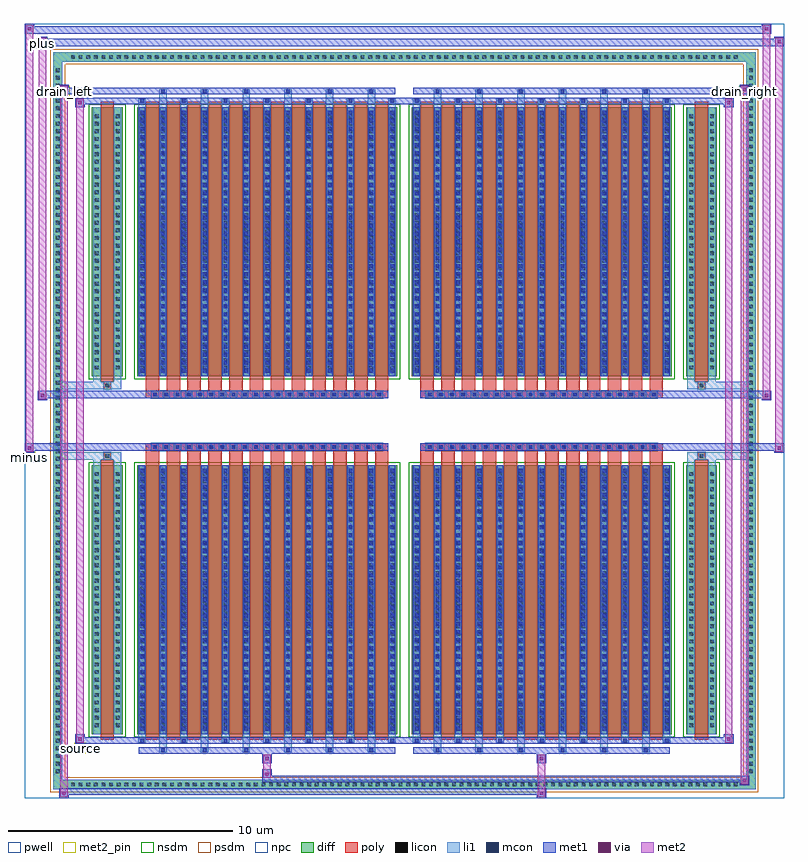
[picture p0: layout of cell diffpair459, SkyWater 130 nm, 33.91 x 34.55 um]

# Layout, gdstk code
import gdstk
lib = gdstk.Library(unit=1e-6, precision=5e-09)
def R(c, l, rs):  # rectangles x0, y0, x1, y1
    for r in rs: c.add(gdstk.rectangle(r[:2], r[2:], *l))
def A(c, l, x, y, w, h, nx, ny, dx, dy):  # array of equal rectangles
    R(c, l, [(x+i*dx, y+j*dy, x+i*dx+w, y+j*dy+h) for i in range(nx) for j in range(ny)])
def P(c, l, *ps):  # polygons
    for p in ps: c.add(gdstk.Polygon(p, *l))
pwell = (64, 44)
diff = (65, 20)
poly = (66, 20)
licon = (66, 44)
li1 = (67, 20)
mcon = (67, 44)
met1 = (68, 20)
via = (68, 44)
met2_pin = (69, 16)
met2 = (69, 20)
nsdm = (93, 44)
psdm = (94, 20)
npc = (95, 20)

diffpair459 = lib.new_cell('diffpair459')
R(diffpair459, pwell, [(-16.94,-16.84,16.94,17.71), (-14.26,-15.03,-0.01,-0.805), (0.01,-15.03,14.26,-0.805), (-14.26,0.805,-0.01,15.03), (0.01,0.805,14.26,15.03)])
A(diffpair459, diff, -14.995, -16.44, 0.41, 0.41, 88, 2, 0.34, 32.47)
A(diffpair459, diff, -15.67, -15.845, 0.41, 0.41, 1, 93, 0, 0.34)
A(diffpair459, diff, 15.26, -15.845, 0.41, 0.41, 1, 93, 0, 0.34)
R(diffpair459, diff, [(-14.995,-16.44,14.995,-16.03), (-15.67,-15.845,-15.26,15.845), (15.26,-15.845,15.67,15.845), (-13.95,-13.985,-12.57,-1.985), (-11.93,-13.985,-0.32,-1.985), (0.32,-13.985,11.93,-1.985), (12.57,-13.985,13.95,-1.985), (-13.95,1.985,-12.57,13.985), (-11.93,1.985,-0.32,13.985), (0.32,1.985,11.93,13.985), (12.57,1.985,13.95,13.985), (-14.995,16.03,14.995,16.44)])
P(diffpair459, diff, [(15.67,16.44),(-15.67,16.44),(-15.67,-16.03),(-15.26,-16.03),(-15.26,16.03),(15.26,16.03),(15.26,-16.03),(-15.26,-16.03),(-15.67,-16.03),(-15.67,-16.44),(15.67,-16.44)])
A(diffpair459, poly, -11.54, -14.235, 0.6, 12.5, 12, 2, 0.93, 15.97)
A(diffpair459, poly, 0.71, -14.235, 0.6, 12.5, 12, 2, 0.93, 15.97)
A(diffpair459, poly, -11.54, -1.735, 0.6, 0.4, 12, 2, 0.93, 3.07)
A(diffpair459, poly, 0.71, -1.735, 0.6, 0.4, 12, 2, 0.93, 3.07)
A(diffpair459, poly, -11.29, -1.335, 0.33, 0.33, 21, 2, 0.5, 2.34)
A(diffpair459, poly, 0.96, -1.335, 0.33, 0.33, 21, 2, 0.5, 2.34)
R(diffpair459, poly, [(-13.56,-14.235,-12.96,-1.735), (12.96,-14.235,13.56,-1.735), (-13.425,-1.735,-13.095,-1.405), (-13.425,-1.735,-13.095,-1.405), (13.095,-1.735,13.425,-1.405), (13.095,-1.735,13.425,-1.405), (-11.54,-1.335,-0.71,-1.005), (0.71,-1.335,11.54,-1.005), (-11.54,1.005,-0.71,1.335), (0.71,1.005,11.54,1.335), (-13.425,1.405,-13.095,1.735), (-13.425,1.405,-13.095,1.735), (13.095,1.405,13.425,1.735), (13.095,1.405,13.425,1.735), (-13.56,1.735,-12.96,14.235), (12.96,1.735,13.56,14.235)])
A(diffpair459, licon, -14.875, -16.32, 0.17, 0.17, 88, 2, 0.34, 32.47)
A(diffpair459, licon, -15.55, -15.725, 0.17, 0.17, 1, 93, 0, 0.34)
A(diffpair459, licon, 15.38, -15.725, 0.17, 0.17, 1, 93, 0, 0.34)
A(diffpair459, licon, -13.81, -13.68, 0.17, 0.17, 1, 34, 0, 0.34)
A(diffpair459, licon, -12.88, -13.68, 0.17, 0.17, 1, 34, 0, 0.34)
A(diffpair459, licon, -11.79, -13.68, 0.17, 0.17, 13, 34, 0.93, 0.34)
A(diffpair459, licon, 0.46, -13.68, 0.17, 0.17, 13, 34, 0.93, 0.34)
A(diffpair459, licon, 12.71, -13.68, 0.17, 0.17, 1, 34, 0, 0.34)
A(diffpair459, licon, 13.64, -13.68, 0.17, 0.17, 1, 34, 0, 0.34)
A(diffpair459, licon, -11.21, -1.255, 0.17, 0.17, 21, 2, 0.5, 2.34)
A(diffpair459, licon, 1.04, -1.255, 0.17, 0.17, 21, 2, 0.5, 2.34)
A(diffpair459, licon, -13.81, 2.29, 0.17, 0.17, 1, 34, 0, 0.34)
A(diffpair459, licon, -12.88, 2.29, 0.17, 0.17, 1, 34, 0, 0.34)
A(diffpair459, licon, -11.79, 2.29, 0.17, 0.17, 13, 34, 0.93, 0.34)
A(diffpair459, licon, 0.46, 2.29, 0.17, 0.17, 13, 34, 0.93, 0.34)
A(diffpair459, licon, 12.71, 2.29, 0.17, 0.17, 1, 34, 0, 0.34)
A(diffpair459, licon, 13.64, 2.29, 0.17, 0.17, 1, 34, 0, 0.34)
R(diffpair459, licon, [(-13.345,-1.655,-13.175,-1.485), (13.175,-1.655,13.345,-1.485), (-13.345,1.485,-13.175,1.655), (13.175,1.485,13.345,1.655)])
A(diffpair459, li1, -14.955, -16.4, 0.33, 0.33, 88, 2, 0.34, 32.47)
A(diffpair459, li1, -15.63, -15.805, 0.33, 0.33, 1, 93, 0, 0.34)
A(diffpair459, li1, 15.3, -15.805, 0.33, 0.33, 1, 93, 0, 0.34)
A(diffpair459, li1, -10.94, -14.79, 0.33, 0.805, 6, 2, 1.86, 28.775)
A(diffpair459, li1, -10.86, -14.79, 0.17, 0.17, 6, 2, 1.86, 29.41)
A(diffpair459, li1, 1.31, -14.79, 0.33, 0.805, 6, 2, 1.86, 28.775)
A(diffpair459, li1, 1.39, -14.79, 0.17, 0.17, 6, 2, 1.86, 29.41)
A(diffpair459, li1, -11.87, -14.36, 0.33, 0.375, 7, 2, 1.86, 28.345)
A(diffpair459, li1, -11.79, -14.36, 0.17, 0.17, 7, 2, 1.86, 28.55)
A(diffpair459, li1, 0.38, -14.36, 0.33, 0.375, 7, 2, 1.86, 28.345)
A(diffpair459, li1, 0.46, -14.36, 0.17, 0.17, 7, 2, 1.86, 28.55)
A(diffpair459, li1, -11.87, -13.985, 0.33, 12, 13, 2, 0.93, 15.97)
A(diffpair459, li1, 0.38, -13.985, 0.33, 12, 13, 2, 0.93, 15.97)
A(diffpair459, li1, -11.79, -13.83, 0.17, 0.17, 13, 33, 0.93, 0.36)
A(diffpair459, li1, -11.79, -13.83, 0.17, 11.69, 13, 2, 0.93, 15.97)
A(diffpair459, li1, 0.46, -13.83, 0.17, 0.17, 13, 33, 0.93, 0.36)
A(diffpair459, li1, 0.46, -13.83, 0.17, 11.69, 13, 2, 0.93, 15.97)
A(diffpair459, li1, -13.89, -13.76, 0.33, 0.33, 1, 34, 0, 0.34)
A(diffpair459, li1, -12.96, -13.76, 0.33, 0.33, 1, 34, 0, 0.34)
A(diffpair459, li1, -11.87, -13.76, 0.33, 0.33, 13, 34, 0.93, 0.34)
A(diffpair459, li1, 0.38, -13.76, 0.33, 0.33, 13, 34, 0.93, 0.34)
A(diffpair459, li1, 12.63, -13.76, 0.33, 0.33, 1, 34, 0, 0.34)
A(diffpair459, li1, 13.56, -13.76, 0.33, 0.33, 1, 34, 0, 0.34)
A(diffpair459, li1, -11.29, -1.335, 0.33, 0.33, 21, 2, 0.5, 2.34)
A(diffpair459, li1, 0.96, -1.335, 0.33, 0.33, 21, 2, 0.5, 2.34)
A(diffpair459, li1, -11.79, 2.14, 0.17, 0.17, 13, 33, 0.93, 0.36)
A(diffpair459, li1, 0.46, 2.14, 0.17, 0.17, 13, 33, 0.93, 0.36)
A(diffpair459, li1, -13.89, 2.21, 0.33, 0.33, 1, 34, 0, 0.34)
A(diffpair459, li1, -12.96, 2.21, 0.33, 0.33, 1, 34, 0, 0.34)
A(diffpair459, li1, -11.87, 2.21, 0.33, 0.33, 13, 34, 0.93, 0.34)
A(diffpair459, li1, 0.38, 2.21, 0.33, 0.33, 13, 34, 0.93, 0.34)
A(diffpair459, li1, 12.63, 2.21, 0.33, 0.33, 1, 34, 0, 0.34)
A(diffpair459, li1, 13.56, 2.21, 0.33, 0.33, 1, 34, 0, 0.34)
R(diffpair459, li1, [(-15.67,-16.44,-15.26,-16.03), (-15.67,-16.44,-15.26,-16.03), (-15.26,-16.44,15.26,-16.03), (15.26,-16.44,15.67,-16.03), (15.26,-16.44,15.67,-16.03), (-15.67,-16.03,-15.26,16.03), (15.26,-16.03,15.67,16.03), (-13.89,-13.985,-13.56,-1.985), (-12.96,-13.985,-12.63,-1.985), (12.63,-13.985,12.96,-1.985), (13.56,-13.985,13.89,-1.985), (-13.89,-1.985,-13.56,-1.405), (-12.96,-1.985,-12.63,-1.405), (12.63,-1.985,12.96,-1.405), (13.56,-1.985,13.89,-1.405), (-15.67,-1.735,-13.425,-1.405), (-13.89,-1.735,-13.425,-1.405), (-13.425,-1.735,-13.095,-1.405), (-13.095,-1.735,-12.63,-1.405), (12.63,-1.735,13.095,-1.405), (13.095,-1.735,13.425,-1.405), (13.095,-1.735,15.67,-1.405), (13.425,-1.735,13.89,-1.405), (-15.67,1.405,-13.425,1.735), (-13.89,1.405,-13.425,1.735), (-13.89,1.405,-13.56,1.985), (-13.425,1.405,-13.095,1.735), (-13.095,1.405,-12.63,1.735), (-12.96,1.405,-12.63,1.985), (12.63,1.405,13.095,1.735), (12.63,1.405,12.96,1.985), (13.095,1.405,13.425,1.735), (13.095,1.405,15.67,1.735), (13.425,1.405,13.89,1.735), (13.56,1.405,13.89,1.985), (-13.89,1.985,-13.56,13.985), (-12.96,1.985,-12.63,13.985), (12.63,1.985,12.96,13.985), (13.56,1.985,13.89,13.985), (-15.67,16.03,-15.26,16.44), (-15.67,16.03,-15.26,16.44), (-15.26,16.03,15.26,16.44), (15.26,16.03,15.67,16.44), (15.26,16.03,15.67,16.44)])
A(diffpair459, mcon, -10.86, -14.79, 0.17, 0.17, 6, 2, 1.86, 29.41)
A(diffpair459, mcon, 1.39, -14.79, 0.17, 0.17, 6, 2, 1.86, 29.41)
A(diffpair459, mcon, -11.79, -14.36, 0.17, 0.17, 7, 2, 1.86, 28.55)
A(diffpair459, mcon, 0.46, -14.36, 0.17, 0.17, 7, 2, 1.86, 28.55)
A(diffpair459, mcon, -11.79, -13.83, 0.17, 0.17, 13, 33, 0.93, 0.36)
A(diffpair459, mcon, 0.46, -13.83, 0.17, 0.17, 13, 33, 0.93, 0.36)
A(diffpair459, mcon, -11.21, -1.255, 0.17, 0.17, 21, 2, 0.5, 2.34)
A(diffpair459, mcon, 1.04, -1.255, 0.17, 0.17, 21, 2, 0.5, 2.34)
A(diffpair459, mcon, -11.79, 2.14, 0.17, 0.17, 13, 33, 0.93, 0.36)
A(diffpair459, mcon, 0.46, 2.14, 0.17, 0.17, 13, 33, 0.93, 0.36)
A(diffpair459, met1, -10.92, -14.85, 0.29, 0.29, 6, 2, 1.86, 29.41)
A(diffpair459, met1, 1.33, -14.85, 0.29, 0.29, 6, 2, 1.86, 29.41)
A(diffpair459, met1, -11.85, -14.42, 0.29, 0.29, 7, 2, 1.86, 28.55)
A(diffpair459, met1, 0.4, -14.42, 0.29, 0.29, 7, 2, 1.86, 28.55)
A(diffpair459, met1, -11.85, -13.985, 0.29, 12, 13, 2, 0.93, 15.97)
A(diffpair459, met1, 0.4, -13.985, 0.29, 12, 13, 2, 0.93, 15.97)
A(diffpair459, met1, -11.85, -13.89, 0.29, 0.29, 13, 33, 0.93, 0.36)
A(diffpair459, met1, 0.4, -13.89, 0.29, 0.29, 13, 33, 0.93, 0.36)
A(diffpair459, met1, -11.27, -1.315, 0.29, 0.29, 21, 2, 0.5, 2.34)
A(diffpair459, met1, 0.98, -1.315, 0.29, 0.29, 21, 2, 0.5, 2.34)
A(diffpair459, met1, -11.85, 2.08, 0.29, 0.29, 13, 33, 0.93, 0.36)
A(diffpair459, met1, 0.4, 2.08, 0.29, 0.29, 13, 33, 0.93, 0.36)
R(diffpair459, met1, [(-15.4,-16.84,-14.97,-16.41), (5.91,-16.84,6.34,-16.41), (-15.4,-16.7,6.34,-16.41), (14.97,-16.27,15.4,-15.84), (-6.34,-16.13,15.4,-15.84), (-6.34,-15.99,-5.91,-15.56), (-6.34,-15.28,-5.91,-14.85), (5.91,-15.28,6.34,-14.85), (-11.85,-14.85,-0.4,-14.56), (0.4,-14.85,11.85,-14.56), (-14.69,-14.42,-14.26,-13.99), (-14.69,-14.42,-11.85,-14.13), (-11.85,-14.42,-0.4,-14.13), (-0.4,-14.42,0.4,-14.13), (0.4,-14.42,11.85,-14.13), (11.85,-14.42,14.69,-14.13), (14.26,-14.42,14.69,-13.99), (-16.94,-1.435,-16.51,-1.005), (16.51,-1.435,16.94,-1.005), (-16.94,-1.335,-0.71,-1.005), (-11.54,-1.335,-0.71,-1.005), (0.71,-1.335,11.54,-1.005), (0.71,-1.335,16.94,-1.005), (-16.37,0.905,-15.94,1.335), (15.94,0.905,16.37,1.335), (-16.37,1.005,-11.54,1.335), (-11.54,1.005,-0.71,1.335), (0.71,1.005,11.54,1.335), (11.54,1.005,16.37,1.335), (-14.69,13.99,-14.26,14.42), (14.26,13.99,14.69,14.42), (-14.69,14.13,-11.85,14.42), (-11.85,14.13,-0.4,14.42), (-0.4,14.13,0.4,14.42), (0.4,14.13,11.85,14.42), (11.85,14.13,14.69,14.42), (-15.4,14.56,-14.97,14.99), (-15.4,14.56,-11.85,14.85), (-11.85,14.56,-0.4,14.85), (0.4,14.56,11.85,14.85), (11.85,14.56,15.4,14.85), (14.97,14.56,15.4,14.99), (-16.37,16.71,-15.94,17.14), (-16.37,16.71,-14.26,17.04), (-14.26,16.71,14.26,17.04), (14.26,16.71,16.94,17.04), (16.51,16.71,16.94,17.14), (-16.94,17.28,-16.51,17.71), (-16.94,17.28,-14.26,17.61), (-14.26,17.28,14.26,17.61), (14.26,17.28,16.37,17.61), (15.94,17.28,16.37,17.71)])
R(diffpair459, via, [(-15.26,-16.7,-15.11,-16.55), (6.05,-16.7,6.2,-16.55), (15.11,-16.13,15.26,-15.98), (-6.2,-15.85,-6.05,-15.7), (-6.2,-15.14,-6.05,-14.99), (6.05,-15.14,6.2,-14.99), (-14.55,-14.28,-14.4,-14.13), (14.4,-14.28,14.55,-14.13), (-16.8,-1.295,-16.65,-1.145), (16.65,-1.295,16.8,-1.145), (-16.23,1.045,-16.08,1.195), (16.08,1.045,16.23,1.195), (-14.55,14.13,-14.4,14.28), (14.4,14.13,14.55,14.28), (-15.26,14.7,-15.11,14.85), (15.11,14.7,15.26,14.85), (-16.23,16.85,-16.08,17), (16.65,16.85,16.8,17), (-16.8,17.42,-16.65,17.57), (16.08,17.42,16.23,17.57)])
R(diffpair459, met2_pin, [(-14.725,-14.87,-14.225,-14.37), (-16.975,-1.885,-16.475,-1.385), (-15.435,14.44,-14.935,14.94), (14.935,14.44,15.435,14.94), (-16.405,16.59,-15.905,17.09)])
R(diffpair459, met2, [(-15.35,-16.79,-15.02,-16.46), (-15.35,-16.79,-15.02,14.94), (5.96,-16.79,6.29,-16.46), (5.96,-16.46,6.29,-15.23), (15.02,-16.22,15.35,-15.89), (15.02,-16.22,15.35,14.94), (-6.29,-15.94,-5.96,-15.61), (-6.29,-15.61,-5.96,-15.23), (-6.29,-15.23,-5.96,-14.9), (5.96,-15.23,6.29,-14.9), (-14.64,-14.37,-14.31,-14.04), (-14.64,-14.37,-14.31,14.37), (14.31,-14.37,14.64,-14.04), (14.31,-14.37,14.64,14.37), (-16.89,-1.385,-16.56,-1.055), (-16.89,-1.385,-16.56,17.66), (16.56,-1.385,16.89,-1.055), (16.56,-1.385,16.89,17.09), (-16.32,0.955,-15.99,1.285), (-16.32,0.955,-15.99,17.09), (15.99,0.955,16.32,1.285), (15.99,0.955,16.32,17.66), (-14.64,14.04,-14.31,14.37), (14.31,14.04,14.64,14.37), (-15.35,14.61,-15.02,14.94), (15.02,14.61,15.35,14.94), (-16.32,16.76,-15.99,17.09), (16.56,16.76,16.89,17.09), (-16.89,17.33,-16.56,17.66), (15.99,17.33,16.32,17.66)])
P(diffpair459, met2, [(16.89,-1.385),(16.89,-1.385),(16.89,-1.055),(16.89,-1.055)],
  [(16.89,16.76),(16.89,16.76),(16.89,17.09),(16.89,17.09)],
  [(-16.56,-1.385),(-16.56,-1.385),(-16.56,-1.055),(-16.56,-1.055)],
  [(-16.56,17.33),(-16.56,17.33),(-16.56,17.66),(-16.56,17.66)],
  [(16.32,0.955),(16.32,0.955),(16.32,1.285),(16.32,1.285)],
  [(16.32,17.33),(16.32,17.33),(16.32,17.66),(16.32,17.66)],
  [(-15.99,0.955),(-15.99,0.955),(-15.99,1.285),(-15.99,1.285)],
  [(-15.99,16.76),(-15.99,16.76),(-15.99,17.09),(-15.99,17.09)],
  [(-15.02,-16.79),(-15.02,-16.79),(-15.02,-16.46),(-15.02,-16.46)],
  [(-15.02,14.61),(-15.02,14.61),(-15.02,14.94),(-15.02,14.94)],
  [(15.35,-16.22),(15.35,-16.22),(15.35,-15.89),(15.35,-15.89)],
  [(15.35,14.61),(15.35,14.61),(15.35,14.94),(15.35,14.94)],
  [(-14.31,-14.37),(-14.31,-14.37),(-14.31,-14.04),(-14.31,-14.04)],
  [(-14.31,14.04),(-14.31,14.04),(-14.31,14.37),(-14.31,14.37)],
  [(14.64,-14.37),(14.64,-14.37),(14.64,-14.04),(14.64,-14.04)],
  [(14.64,14.04),(14.64,14.04),(14.64,14.37),(14.64,14.37)])
R(diffpair459, nsdm, [(-14.08,-14.115,-12.44,-1.855), (-12.06,-14.115,-0.19,-1.855), (0.19,-14.115,12.06,-1.855), (12.44,-14.115,14.08,-1.855), (-14.08,1.855,-12.44,14.115), (-12.06,1.855,-0.19,14.115), (0.19,1.855,12.06,14.115), (12.44,1.855,14.08,14.115)])
P(diffpair459, psdm, [(15.8,16.57),(-15.8,16.57),(-15.8,-15.9),(-15.13,-15.9),(-15.13,15.9),(15.13,15.9),(15.13,-15.9),(-15.13,-15.9),(-15.8,-15.9),(-15.8,-16.57),(15.8,-16.57)])
A(diffpair459, npc, -11.31, -1.355, 0.37, 0.37, 21, 2, 0.5, 2.34)
A(diffpair459, npc, 0.94, -1.355, 0.37, 0.37, 21, 2, 0.5, 2.34)
R(diffpair459, npc, [(-13.445,-1.755,-13.075,-1.385), (13.075,-1.755,13.445,-1.385), (-11.31,-1.355,-10.44,-0.985), (-11.31,-1.355,-10.44,-0.985), (-10.81,-1.355,-9.94,-0.985), (-10.81,-1.355,-9.94,-0.985), (-10.31,-1.355,-9.44,-0.985), (-10.31,-1.355,-9.44,-0.985), (-9.81,-1.355,-8.94,-0.985), (-9.81,-1.355,-8.94,-0.985), (-9.31,-1.355,-8.44,-0.985), (-9.31,-1.355,-8.44,-0.985), (-8.81,-1.355,-7.94,-0.985), (-8.81,-1.355,-7.94,-0.985), (-8.31,-1.355,-7.44,-0.985), (-8.31,-1.355,-7.44,-0.985), (-7.81,-1.355,-6.94,-0.985), (-7.81,-1.355,-6.94,-0.985), (-7.31,-1.355,-6.44,-0.985), (-7.31,-1.355,-6.44,-0.985), (-6.81,-1.355,-5.94,-0.985), (-6.81,-1.355,-5.94,-0.985), (-6.31,-1.355,-5.44,-0.985), (-6.31,-1.355,-5.44,-0.985), (-5.81,-1.355,-4.94,-0.985), (-5.81,-1.355,-4.94,-0.985), (-5.31,-1.355,-4.44,-0.985), (-5.31,-1.355,-4.44,-0.985), (-4.81,-1.355,-3.94,-0.985), (-4.81,-1.355,-3.94,-0.985), (-4.31,-1.355,-3.44,-0.985), (-4.31,-1.355,-3.44,-0.985), (-3.81,-1.355,-2.94,-0.985), (-3.81,-1.355,-2.94,-0.985), (-3.31,-1.355,-2.44,-0.985), (-3.31,-1.355,-2.44,-0.985), (-2.81,-1.355,-1.94,-0.985), (-2.81,-1.355,-1.94,-0.985), (-2.31,-1.355,-1.44,-0.985), (-2.31,-1.355,-1.44,-0.985), (-1.81,-1.355,-0.94,-0.985), (-1.81,-1.355,-0.94,-0.985), (0.94,-1.355,1.81,-0.985), (0.94,-1.355,1.81,-0.985), (1.44,-1.355,2.31,-0.985), (1.44,-1.355,2.31,-0.985), (1.94,-1.355,2.81,-0.985), (1.94,-1.355,2.81,-0.985), (2.44,-1.355,3.31,-0.985), (2.44,-1.355,3.31,-0.985), (2.94,-1.355,3.81,-0.985), (2.94,-1.355,3.81,-0.985), (3.44,-1.355,4.31,-0.985), (3.44,-1.355,4.31,-0.985), (3.94,-1.355,4.81,-0.985), (3.94,-1.355,4.81,-0.985), (4.44,-1.355,5.31,-0.985), (4.44,-1.355,5.31,-0.985), (4.94,-1.355,5.81,-0.985), (4.94,-1.355,5.81,-0.985), (5.44,-1.355,6.31,-0.985), (5.44,-1.355,6.31,-0.985), (5.94,-1.355,6.81,-0.985), (5.94,-1.355,6.81,-0.985), (6.44,-1.355,7.31,-0.985), (6.44,-1.355,7.31,-0.985), (6.94,-1.355,7.81,-0.985), (6.94,-1.355,7.81,-0.985), (7.44,-1.355,8.31,-0.985), (7.44,-1.355,8.31,-0.985), (7.94,-1.355,8.81,-0.985), (7.94,-1.355,8.81,-0.985), (8.44,-1.355,9.31,-0.985), (8.44,-1.355,9.31,-0.985), (8.94,-1.355,9.81,-0.985), (8.94,-1.355,9.81,-0.985), (9.44,-1.355,10.31,-0.985), (9.44,-1.355,10.31,-0.985), (9.94,-1.355,10.81,-0.985), (9.94,-1.355,10.81,-0.985), (10.44,-1.355,11.31,-0.985), (10.44,-1.355,11.31,-0.985), (-11.31,0.985,-10.44,1.355), (-11.31,0.985,-10.44,1.355), (-10.81,0.985,-9.94,1.355), (-10.81,0.985,-9.94,1.355), (-10.31,0.985,-9.44,1.355), (-10.31,0.985,-9.44,1.355), (-9.81,0.985,-8.94,1.355), (-9.81,0.985,-8.94,1.355), (-9.31,0.985,-8.44,1.355), (-9.31,0.985,-8.44,1.355), (-8.81,0.985,-7.94,1.355), (-8.81,0.985,-7.94,1.355), (-8.31,0.985,-7.44,1.355), (-8.31,0.985,-7.44,1.355), (-7.81,0.985,-6.94,1.355), (-7.81,0.985,-6.94,1.355), (-7.31,0.985,-6.44,1.355), (-7.31,0.985,-6.44,1.355), (-6.81,0.985,-5.94,1.355), (-6.81,0.985,-5.94,1.355), (-6.31,0.985,-5.44,1.355), (-6.31,0.985,-5.44,1.355), (-5.81,0.985,-4.94,1.355), (-5.81,0.985,-4.94,1.355), (-5.31,0.985,-4.44,1.355), (-5.31,0.985,-4.44,1.355), (-4.81,0.985,-3.94,1.355), (-4.81,0.985,-3.94,1.355), (-4.31,0.985,-3.44,1.355), (-4.31,0.985,-3.44,1.355), (-3.81,0.985,-2.94,1.355), (-3.81,0.985,-2.94,1.355), (-3.31,0.985,-2.44,1.355), (-3.31,0.985,-2.44,1.355), (-2.81,0.985,-1.94,1.355), (-2.81,0.985,-1.94,1.355), (-2.31,0.985,-1.44,1.355), (-2.31,0.985,-1.44,1.355), (-1.81,0.985,-0.94,1.355), (-1.81,0.985,-0.94,1.355), (0.94,0.985,1.81,1.355), (0.94,0.985,1.81,1.355), (1.44,0.985,2.31,1.355), (1.44,0.985,2.31,1.355), (1.94,0.985,2.81,1.355), (1.94,0.985,2.81,1.355), (2.44,0.985,3.31,1.355), (2.44,0.985,3.31,1.355), (2.94,0.985,3.81,1.355), (2.94,0.985,3.81,1.355), (3.44,0.985,4.31,1.355), (3.44,0.985,4.31,1.355), (3.94,0.985,4.81,1.355), (3.94,0.985,4.81,1.355), (4.44,0.985,5.31,1.355), (4.44,0.985,5.31,1.355), (4.94,0.985,5.81,1.355), (4.94,0.985,5.81,1.355), (5.44,0.985,6.31,1.355), (5.44,0.985,6.31,1.355), (5.94,0.985,6.81,1.355), (5.94,0.985,6.81,1.355), (6.44,0.985,7.31,1.355), (6.44,0.985,7.31,1.355), (6.94,0.985,7.81,1.355), (6.94,0.985,7.81,1.355), (7.44,0.985,8.31,1.355), (7.44,0.985,8.31,1.355), (7.94,0.985,8.81,1.355), (7.94,0.985,8.81,1.355), (8.44,0.985,9.31,1.355), (8.44,0.985,9.31,1.355), (8.94,0.985,9.81,1.355), (8.94,0.985,9.81,1.355), (9.44,0.985,10.31,1.355), (9.44,0.985,10.31,1.355), (9.94,0.985,10.81,1.355), (9.94,0.985,10.81,1.355), (10.44,0.985,11.31,1.355), (10.44,0.985,11.31,1.355), (-13.445,1.385,-13.075,1.755), (13.075,1.385,13.445,1.755)])
diffpair459.add(gdstk.Label('minus', (-16.725,-1.635), layer=69, texttype=5))
diffpair459.add(gdstk.Label('drain_right', (15.185,14.69), layer=69, texttype=5))
diffpair459.add(gdstk.Label('drain_left', (-15.185,14.69), layer=69, texttype=5))
diffpair459.add(gdstk.Label('source', (-14.475,-14.62), layer=69, texttype=5))
diffpair459.add(gdstk.Label('plus', (-16.155,16.84), layer=69, texttype=5))

lib.write_gds('diffpair459.gds')
